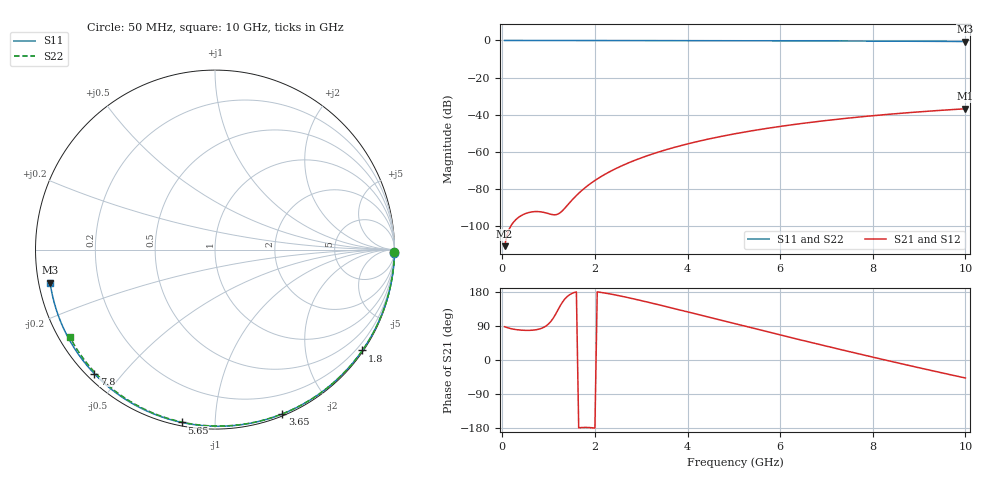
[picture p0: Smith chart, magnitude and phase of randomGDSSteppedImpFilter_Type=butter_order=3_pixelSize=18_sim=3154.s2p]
! freq	dB(S11)	phase(S11)	dB(S12)	phase(S12)
!  dB(S21)	phase(S21)	dB(S22)	phase(S22)
!S-par simulation data
#  GHz  S  DB  R 50
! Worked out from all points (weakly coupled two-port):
!   200 points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, 50 MHz to 10 GHz, reference 50 ohm
!   highest |S21| = -36.75 dB at 10 GHz (marker M1); lowest = -110.7 dB at 50 MHz (marker M2)
!   lowest |S11| = -0.6 dB at 10 GHz (marker M3), VSWR 30.73, Z = 1.64 - j4.95 ohm
!   |S11| at or under -10 dB: nowhere
!   |S22| runs from -0.5 to 0.0 dB; largest |S21 - S12| = 0
!   S11 on the Smith chart (normalised r, x): 50 MHz: open; 1.8 GHz: 0.03, -3.23; 3.65 GHz: 0.02, -1.49; 5.65 GHz: 0.02, -0.83; 7.8 GHz: 0.02, -0.42; 10 GHz: 0.03, -0.10
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0.05  -0.00 -1.0  -110.66 87.8  -110.66 87.8  -0.00 -0.9
0.45  -0.01 -8.7  -93.67 78.5  -93.67 78.5  -0.01 -7.8
0.85  -0.02 -16.4  -92.26 83.7  -92.26 83.7  -0.02 -14.6
1.3  -0.03 -25.0  -91.56 152.9  -91.56 152.9  -0.03 -22.2
1.75  -0.04 -33.5  -79.99 -178.0  -79.99 -178.0  -0.04 -29.8
1.8  -0.04 -34.4  -78.96 -177.9  -78.96 -177.9  -0.04 -30.6
1.95  -0.05 -37.2  -76.17 -178.9  -76.17 -178.9  -0.04 -33.1
2.1  -0.05 -40.0  -73.72 178.9  -73.72 178.9  -0.05 -35.6
2.45  -0.06 -46.4  -68.95 171.5  -68.95 171.5  -0.05 -41.3
2.9  -0.07 -54.5  -64.10 159.6  -64.10 159.6  -0.06 -48.6
3.4  -0.08 -63.4  -59.81 145.1  -59.81 145.1  -0.08 -56.5
3.65  -0.09 -67.7  -57.97 137.6  -57.97 137.6  -0.08 -60.5
4.3  -0.11 -78.8  -53.87 117.9  -53.87 117.9  -0.10 -70.4
5.05  -0.14 -91.2  -50.07 95.0  -50.07 95.0  -0.13 -81.6
5.65  -0.17 -100.9  -47.55 76.7  -47.55 76.7  -0.15 -90.3
6.15  -0.20 -108.8  -45.71 61.7  -45.71 61.7  -0.17 -97.4
6.7  -0.23 -117.3  -43.93 45.3  -43.93 45.3  -0.20 -105.0
7.25  -0.27 -125.8  -42.35 29.2  -42.35 29.2  -0.24 -112.5
7.8  -0.31 -134.2  -40.95 13.3  -40.95 13.3  -0.28 -119.9
8.35  -0.37 -142.7  -39.71 -2.4  -39.71 -2.4  -0.33 -127.2
9.2  -0.46 -155.8  -38.05 -26.0  -38.05 -26.0  -0.41 -138.5
10  -0.57 -168.7  -36.75 -47.5  -36.75 -47.5  -0.50 -149.1
